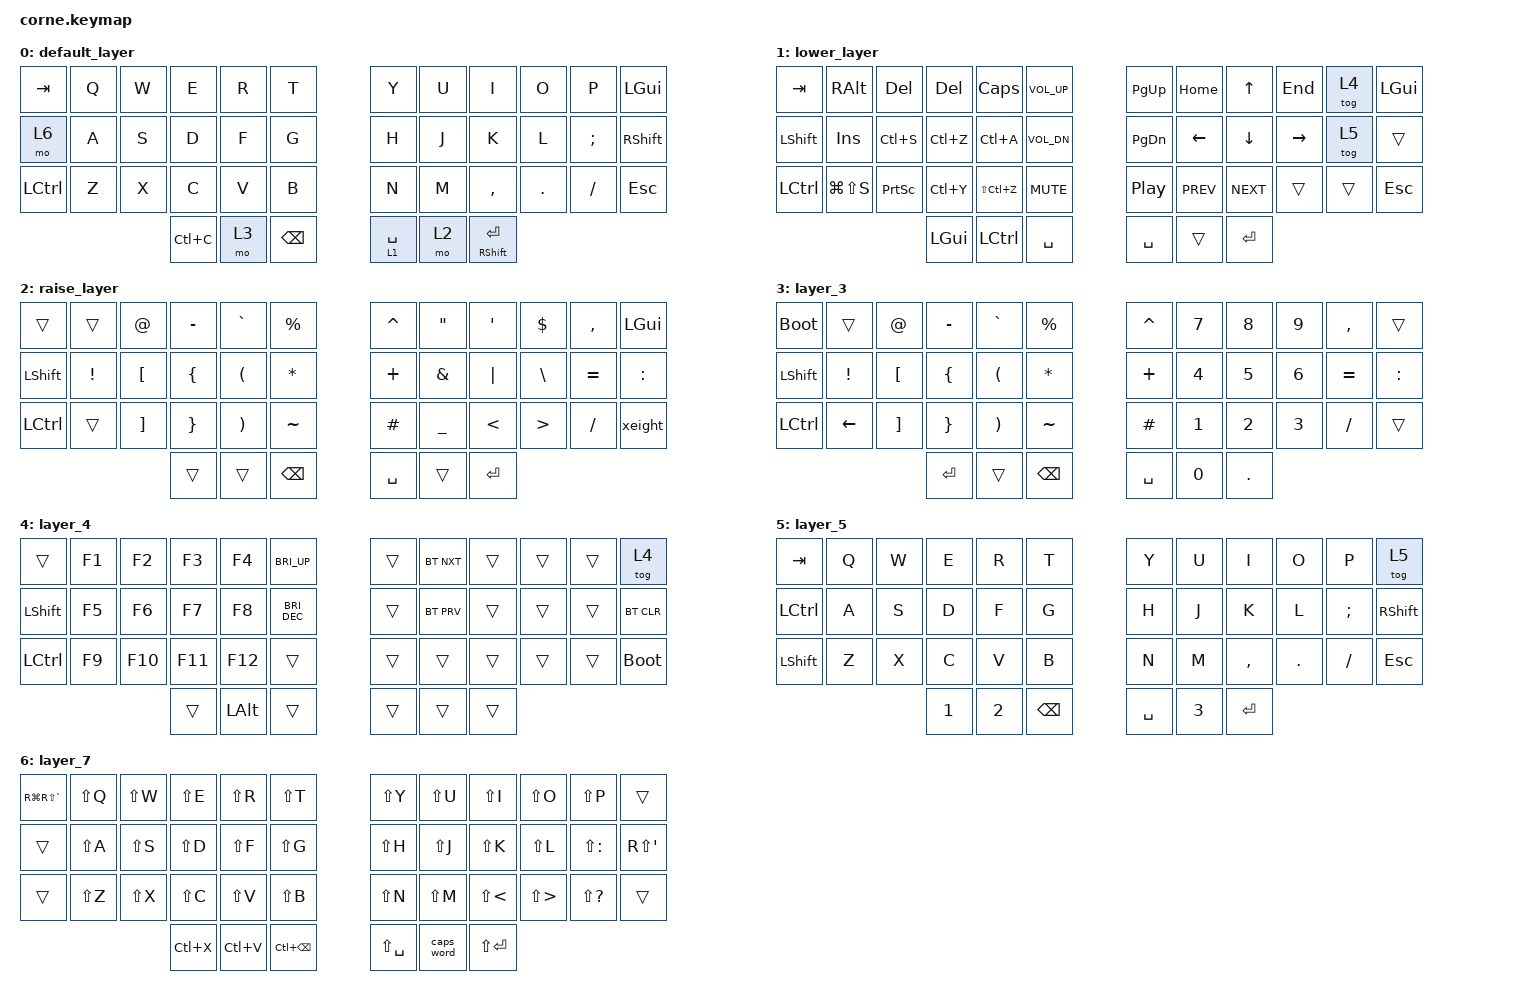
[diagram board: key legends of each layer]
/*
 * Copyright (c) 2020 The ZMK Contributors
 *
 * SPDX-License-Identifier: MIT
 */

#include <behaviors.dtsi>
#include <dt-bindings/zmk/bt.h>
#include <dt-bindings/zmk/keys.h>

&lt { tapping-term-ms = <210>; };

/ {
    macros {
        xtwo: xtwo {
            compatible = "zmk,behavior-macro";
            #binding-cells = <0>;
            bindings = <&click1356 &click1356 &click1356 &click1356 &click1356 &click1356>;
            label = "XTWO";
        };

        xfour: xfour {
            compatible = "zmk,behavior-macro";
            #binding-cells = <0>;
            bindings = <&xtwo &xtwo &xtwo &xtwo &xtwo &xtwo>;
            label = "XFOUR";
        };

        xsix: xsix {
            compatible = "zmk,behavior-macro";
            #binding-cells = <0>;
            bindings = <&xfour &xfour &xfour &xfour &xfour &xfour>;
            label = "XSIX";
        };

        xeight: xeight {
            compatible = "zmk,behavior-macro";
            #binding-cells = <0>;
            bindings = <&xsix &xsix &xsix &xsix &xsix &xsix>;
            label = "XEIGHT";
        };

        click1356: click1356 {
            compatible = "zmk,behavior-macro";
            #binding-cells = <0>;
            bindings = <&kp N1 &kp N3 &kp N5 &kp N6 &kp N1 &kp N3 &kp N5 &kp N6>;
            label = "CLICK1356";
        };
    };

    behaviors {
        new_behavior: new_behavior {
            compatible = "zmk,behavior-caps-word";
            label = "NEW_BEHAVIOR";
            #binding-cells = <0>;
            continue-list = <SPACE>;
        };
    };

    keymap {
        compatible = "zmk,keymap";

        default_layer {
            // -----------------------------------------------------------------------------------------
            // |  TAB |  Q  |  W  |  E  |  R  |  T  |   |  Y  |  U   |  I  |  O  |  P  | BKSP |
            // | CTRL |  A  |  S  |  D  |  F  |  G  |   |  H  |  J   |  K  |  L  |  ;  |  '   |
            // | SHFT |  Z  |  X  |  C  |  V  |  B  |   |  N  |  M   |  ,  |  .  |  /  | ESC  |
            //                    | GUI | LWR | SPC |   | ENT | RSE  | ALT |

            bindings = <
&kp TAB    &kp Q  &kp W  &kp E      &kp R  &kp T            &kp Y        &kp U  &kp I            &kp O    &kp P     &kp LEFT_GUI
&mo 6      &kp A  &kp S  &kp D      &kp F  &kp G            &kp H        &kp J  &kp K            &kp L    &kp SEMI  &kp RIGHT_SHIFT
&kp LCTRL  &kp Z  &kp X  &kp C      &kp V  &kp B            &kp N        &kp M  &kp COMMA        &kp DOT  &kp FSLH  &kp ESC
                         &kp LC(C)  &mo 3  &kp BACKSPACE    &lt 1 SPACE  &mo 2  &mt RSHFT ENTER
            >;
        };

        lower_layer {
            // -----------------------------------------------------------------------------------------
            // |  TAB |  1  |  2  |  3  |  4  |  5  |   |  6  |  7  |  8  |  9  |  0  | BKSP |
            // | BTCLR| BT1 | BT2 | BT3 | BT4 | BT5 |   | LFT | DWN |  UP | RGT |     |      |
            // | SHFT |     |     |     |     |     |   |     |     |     |     |     |      |
            //                    | GUI |     | SPC |   | ENT |     | ALT |

            bindings = <
&kp TAB    &kp RIGHT_ALT  &kp DEL          &kp DEL    &kp CAPS       &kp C_VOL_UP    &kp PAGE_UP       &kp HOME        &kp UP_ARROW    &kp END    &tog 4  &kp LEFT_GUI
&kp LSHFT  &kp INS        &kp LC(S)        &kp LC(Z)  &kp LC(A)      &kp C_VOL_DN    &kp PAGE_DOWN     &kp LEFT_ARROW  &kp DOWN_ARROW  &kp RIGHT  &tog 5  &trans
&kp LCTRL  &kp LG(LS(S))  &kp PRINTSCREEN  &kp LC(Y)  &kp LS(LC(Z))  &kp C_MUTE      &kp C_PLAY_PAUSE  &kp C_PREV      &kp C_NEXT      &trans     &trans  &kp ESCAPE
                                           &kp LGUI   &kp LCTRL      &kp SPACE       &kp SPACE         &trans          &kp RET
            >;
        };

        raise_layer {
            // -----------------------------------------------------------------------------------------
            // |  TAB |  !  |  @  |  #  |  $  |  %  |   |  ^  |  &  |  *  |  (  |  )  | BKSP |
            // | CTRL |     |     |     |     |     |   |  -  |  =  |  [  |  ]  |  \  |  `   |
            // | SHFT |     |     |     |     |     |   |  _  |  +  |  {  |  }  | "|" |  ~   |
            //                    | GUI |     | SPC |   | ENT |     | ALT |

            bindings = <
&trans          &trans    &kp AT             &kp MINUS        &kp GRAVE              &kp PRCNT        &kp CARET  &kp DOUBLE_QUOTES  &kp SINGLE_QUOTE  &kp DOLLAR     &kp COMMA  &kp LEFT_GUI
&kp LEFT_SHIFT  &kp EXCL  &kp LEFT_BRACKET   &kp LEFT_BRACE   &kp LEFT_PARENTHESIS   &kp ASTRK        &kp PLUS   &kp AMPERSAND      &kp PIPE          &kp BACKSLASH  &kp EQUAL  &kp COLON
&kp LCTRL       &trans    &kp RIGHT_BRACKET  &kp RIGHT_BRACE  &kp RIGHT_PARENTHESIS  &kp TILDE        &kp HASH   &kp UNDER          &kp LT            &kp GT         &kp SLASH  &xeight
                                             &trans           &trans                 &kp BACKSPACE    &kp SPACE  &trans             &kp RET
            >;
        };

        layer_3 {
            bindings = <
&bootloader     &trans          &kp AT    &kp MINUS        &kp GRAVE              &kp PERCENT    &kp CARET  &kp N7  &kp N8   &kp N9  &kp COMMA  &trans
&kp LEFT_SHIFT  &kp EXCL        &kp LBKT  &kp LEFT_BRACE   &kp LEFT_PARENTHESIS   &kp ASTRK      &kp PLUS   &kp N4  &kp N5   &kp N6  &kp EQUAL  &kp COLON
&kp LCTRL       &kp LEFT_ARROW  &kp RBKT  &kp RIGHT_BRACE  &kp RIGHT_PARENTHESIS  &kp TILDE      &kp HASH   &kp N1  &kp N2   &kp N3  &kp SLASH  &trans
                                          &kp ENTER        &trans                 &kp BSPC       &kp SPACE  &kp N0  &kp DOT
            >;
        };

        layer_4 {
            bindings = <
&trans          &kp F1  &kp F2   &kp F3   &kp F4    &kp C_BRI_UP     &trans  &bt BT_NXT  &trans  &trans  &trans  &tog 4
&kp LEFT_SHIFT  &kp F5  &kp F6   &kp F7   &kp F8    &kp C_BRI_DEC    &trans  &bt BT_PRV  &trans  &trans  &trans  &bt BT_CLR
&kp LCTRL       &kp F9  &kp F10  &kp F11  &kp F12   &trans           &trans  &trans      &trans  &trans  &trans  &bootloader
                                 &trans   &kp LALT  &trans           &trans  &trans      &trans
            >;
        };

        layer_5 {
            bindings = <
&kp TAB    &kp Q  &kp W  &kp E         &kp R         &kp T            &kp Y      &kp U         &kp I      &kp O    &kp P     &tog 5
&kp LCTRL  &kp A  &kp S  &kp D         &kp F         &kp G            &kp H      &kp J         &kp K      &kp L    &kp SEMI  &kp RIGHT_SHIFT
&kp LSHFT  &kp Z  &kp X  &kp C         &kp V         &kp B            &kp N      &kp M         &kp COMMA  &kp DOT  &kp FSLH  &kp ESC
                         &kp NUMBER_1  &kp NUMBER_2  &kp BACKSPACE    &kp SPACE  &kp NUMBER_3  &kp ENTER
            >;
        };

        layer_7 {
            bindings = <
&kp RG(RS(GRAVE))  &kp LS(Q)  &kp LS(W)  &kp LS(E)  &kp LS(R)  &kp LS(T)       &kp LS(Y)      &kp LS(U)   &kp LS(I)    &kp LS(O)   &kp LS(P)      &trans
&trans             &kp LS(A)  &kp LS(S)  &kp LS(D)  &kp LS(F)  &kp LS(G)       &kp LS(H)      &kp LS(J)   &kp LS(K)    &kp LS(L)   &kp LS(COLON)  &kp RS(SQT)
&trans             &kp LS(Z)  &kp LS(X)  &kp LS(C)  &kp LS(V)  &kp LS(B)       &kp LS(N)      &kp LS(M)   &kp LS(LT)   &kp LS(GT)  &kp LS(QMARK)  &trans
                                         &kp LC(X)  &kp LC(V)  &kp LC(BSPC)    &kp LS(SPACE)  &caps_word  &kp LS(RET)
            >;
        };
    };
};
